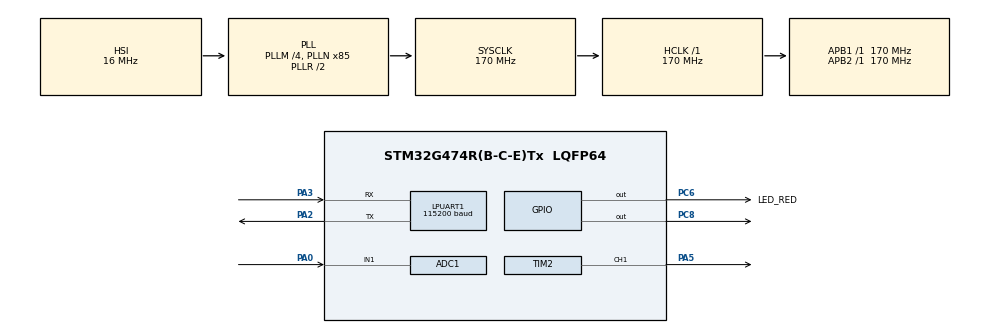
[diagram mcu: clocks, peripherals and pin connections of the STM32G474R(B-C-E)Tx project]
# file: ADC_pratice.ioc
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ADC1.Channel-0\#ChannelRegularConversion=ADC_CHANNEL_1
ADC1.DMAContinuousRequests=ENABLE
ADC1.ExternalTrigConv=ADC_EXTERNALTRIG_T3_TRGO
ADC1.NbrOfConversionFlag=1
ADC1.OffsetNumber-0\#ChannelRegularConversion=ADC_OFFSET_NONE
ADC1.Overrun=ADC_OVR_DATA_OVERWRITTEN
ADC1.Rank-0\#ChannelRegularConversion=1
ADC1.SamplingTime-0\#ChannelRegularConversion=ADC_SAMPLETIME_47CYCLES_5
ADC1.master=1
Dma.ADC1.0.Direction=DMA_PERIPH_TO_MEMORY
Dma.ADC1.0.EventEnable=DISABLE
Dma.ADC1.0.Instance=DMA1_Channel1
Dma.ADC1.0.MemDataAlignment=DMA_MDATAALIGN_HALFWORD
Dma.ADC1.0.MemInc=DMA_MINC_ENABLE
Dma.ADC1.0.Mode=DMA_CIRCULAR
Dma.ADC1.0.PeriphDataAlignment=DMA_PDATAALIGN_HALFWORD
Dma.ADC1.0.PeriphInc=DMA_PINC_DISABLE
Dma.ADC1.0.Polarity=HAL_DMAMUX_REQ_GEN_RISING
Dma.ADC1.0.Priority=DMA_PRIORITY_LOW
Dma.ADC1.0.RequestNumber=1
Dma.ADC1.0.SignalID=NONE
Dma.ADC1.0.SyncEnable=DISABLE
Dma.ADC1.0.SyncPolarity=HAL_DMAMUX_SYNC_NO_EVENT
Dma.ADC1.0.SyncRequestNumber=1
Dma.ADC1.0.SyncSignalID=NONE
Dma.Request0=ADC1
LPUART1.BaudRate=115200
Mcu.Family=STM32G4
Mcu.Name=STM32G474R(B-C-E)Tx
Mcu.Package=LQFP64
NVIC.DMA1_Channel1_IRQn=true\:0\:0\:false\:false\:true\:false\:true\:true
NVIC.PriorityGroup=NVIC_PRIORITYGROUP_4
PA0.Mode=IN1-Single-Ended
PA0.Signal=ADC1_IN1
PA13.GPIO_Label=T_SWDIO
PA13.Signal=SYS_JTMS-SWDIO
PA14.GPIO_Label=T_SWCLK
PA14.Signal=SYS_JTCK-SWCLK
PA2.Mode=Asynchronous
PA2.Signal=LPUART1_TX
PA3.Mode=Asynchronous
PA3.Signal=LPUART1_RX
PA5.Signal=S_TIM2_CH1
PB3.GPIO_Label=T_SWO
PB3.Signal=SYS_JTDO-SWO
PC14-OSC32_IN.GPIO_Label=RCC_OSC32_IN
PC14-OSC32_IN.Signal=RCC_OSC32_IN
PC15-OSC32_OUT.GPIO_Label=RCC_OSC32_OUT
PC15-OSC32_OUT.Signal=RCC_OSC32_OUT
PC6.GPIO_Label=LED_RED
PC6.Signal=GPIO_Output
PC8.Signal=GPIO_Output
PF0-OSC_IN.GPIO_Label=RCC_OSC_IN
PF0-OSC_IN.Signal=RCC_OSC_IN
PF1-OSC_OUT.GPIO_Label=RCC_OSC_OUT
PF1-OSC_OUT.Signal=RCC_OSC_OUT
ProjectManager.HeapSize=0x200
ProjectManager.StackSize=0x400
ProjectManager.TargetToolchain=STM32CubeIDE
RCC.ADC12Freq_Value=170000000
RCC.ADC345Freq_Value=170000000
RCC.AHBFreq_Value=170000000
RCC.APB1Freq_Value=170000000
RCC.APB1TimFreq_Value=170000000
RCC.APB2Freq_Value=170000000
RCC.APB2TimFreq_Value=170000000
RCC.CortexFreq_Value=170000000
RCC.EXTERNAL_CLOCK_VALUE=12288000
RCC.HCLKFreq_Value=170000000
RCC.HSE_VALUE=24000000
RCC.HSI48_VALUE=48000000
RCC.HSI_VALUE=16000000
RCC.LSE_VALUE=32768
RCC.PLLM=RCC_PLLM_DIV4
RCC.PLLN=85
RCC.RTCClockSelection=RCC_RTCCLKSOURCE_LSE
RCC.SYSCLKFreq_VALUE=170000000
RCC.SYSCLKSource=RCC_SYSCLKSOURCE_PLLCLK
RCC.USBFreq_Value=170000000
RCC.VCOOutputFreq_Value=340000000
SH.S_TIM2_CH1.0=TIM2_CH1,PWM Generation1 CH1
TIM2.Channel-PWM\ Generation1\ CH1=TIM_CHANNEL_1
TIM2.PeriodNoDither=999
TIM2.Prescaler=169
TIM3.PeriodNoDither=124
TIM3.Prescaler=169
TIM3.TIM_MasterOutputTrigger=TIM_TRGO_UPDATE
VP_SYS_VS_DBSignals.Mode=DisableDeadBatterySignals
VP_TIM2_VS_ClockSourceINT.Mode=Internal
VP_TIM3_VS_ClockSourceINT.Mode=Internal
board=NUCLEO-G474RE

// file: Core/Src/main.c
/* USER CODE BEGIN Header */
/**
  ******************************************************************************
  * @file           : main.c
  * @brief          : Main program body
  ******************************************************************************
  * @attention
  *
  * Copyright (c) 2026 STMicroelectronics.
  * All rights reserved.
  *
  * This software is licensed under terms that can be found in the LICENSE file
  * in the root directory of this software component.
  * If no LICENSE file comes with this software, it is provided AS-IS.
  *
  ******************************************************************************
  */
/* USER CODE END Header */
#include "main.h"
/* USER CODE BEGIN Includes */
#include <stdio.h>

/* USER CODE END Includes */

/* USER CODE BEGIN PD */
#define ADC_BUF_LEN   256                 // DMA 緩衝區總長度
#define HALF_LEN      (ADC_BUF_LEN / 2)   // 一半 = 128 筆（Ping 或 Pong）
/* USER CODE END PD */

ADC_HandleTypeDef hadc1;
DMA_HandleTypeDef hdma_adc1;

UART_HandleTypeDef hlpuart1;

TIM_HandleTypeDef htim2;
TIM_HandleTypeDef htim3;

/* USER CODE BEGIN PV */
uint16_t adc_buf[ADC_BUF_LEN];   // DMA 自動把 ADC 結果搬到這裡
                                 // 前半 [0~127] = Ping，後半 [128~255] = Pong
uint32_t duty_now = 0;       // 目前 LD2 的亮度（0～100），用來做慢慢變暗

/* 旗子：告訴 main 該讀哪一半
 * 0 = 沒有新資料，1 = 前半滿了，2 = 後半滿了
 * volatile：這個變數會在中斷裡被改，要告訴編譯器每次都重新讀 */
volatile uint8_t process_flag = 0;

uint32_t adc_val = 0;        // 最新一筆讀值（給 printf 用）

uint32_t noise = 0;          // 開機 1 秒量到的噪音（max − min）
uint32_t th = 0;             // 門檻 TH = NOISE × 3 + 30
uint8_t  calibrated = 0;     // 0 = 還在量噪音，1 = 量完了，開始偵測拍手
uint32_t n_min = 4095;       // 量噪音期間的最小值
uint32_t n_max = 0;          // 量噪音期間的最大值
uint32_t cal_start = 0;      // 開始量噪音的時間

uint32_t last_toggle = 0;    // 上次切換紅燈的時間（防止一次拍手切兩次）
uint32_t last_print = 0;     // 上次 printf 的時間
/* USER CODE END PV */

void SystemClock_Config(void);
static void MX_GPIO_Init(void);
static void MX_DMA_Init(void);
static void MX_ADC1_Init(void);
static void MX_LPUART1_UART_Init(void);
static void MX_TIM3_Init(void);
static void MX_TIM2_Init(void);

/* USER CODE BEGIN 0 */
/* printf 重新導向：每個字元都從 LPUART1 送出去 */
int __io_putchar(int ch)
{
  HAL_UART_Transmit(&hlpuart1, (uint8_t *)&ch, 1, HAL_MAX_DELAY);
  return ch;
}
/*
 * 設定 PWM 亮度（輸入 0～100，代表 0%～100%）
 * Compare 值 = 一個週期的總格數 × 百分比
 * 例如 ARR = 999（一週期 1000 格），33% → 330
 */
void Set_Duty(uint32_t percent)
{
  uint32_t period = __HAL_TIM_GET_AUTORELOAD(&htim2) + 1;   // 讀出 ARR + 1 = 1000
  uint32_t pulse  = period * percent / 100;                 // 算出要亮幾格
  __HAL_TIM_SET_COMPARE(&htim2, TIM_CHANNEL_1, pulse);      // 設定進去，馬上生效、不會卡住
}
/* USER CODE END 0 */

int main(void)
{

  /* MCU Configuration--------------------------------------------------------*/

  /* Reset of all peripherals, Initializes the Flash interface and the Systick. */
  HAL_Init();

  /* Configure the system clock */
  SystemClock_Config();

  /* Initialize all configured peripherals */
  MX_GPIO_Init();
  MX_DMA_Init();
  MX_ADC1_Init();
  MX_LPUART1_UART_Init();
  MX_TIM3_Init();
  MX_TIM2_Init();
  /* USER CODE BEGIN 2 */
  /* ADC 校正（要在啟動 ADC 之前做） */
  HAL_ADCEx_Calibration_Start(&hadc1, ADC_SINGLE_ENDED);

  /* 啟動 ADC + DMA：ADC 每轉換完一筆，DMA 就自動搬進 adc_buf
   * 寫到一半 → 呼叫 HalfCplt 回呼；寫滿 → 呼叫 Cplt 回呼，然後從頭再寫 */
  HAL_ADC_Start_DMA(&hadc1, (uint32_t *)adc_buf, ADC_BUF_LEN);

  /* 啟動 TIM3：開始每 125 µs 觸發 ADC 一次
   * 一定要放在 ADC 啟動之後，不然第一批觸發會沒人接 */
  HAL_TIM_Base_Start(&htim3);
  /* 啟動 TIM2 的 PWM 輸出（PA5 / LD2） */
  HAL_TIM_PWM_Start(&htim2, TIM_CHANNEL_1);

  /* 測試用：開機時 LD2 由暗到亮再滅，確認 PWM 正常（測完可刪） */
  for (int d = 0; d <= 100; d += 5)
  {
    Set_Duty(d);
    HAL_Delay(50);
  }
  Set_Duty(0);

  cal_start = HAL_GetTick();   // 開始量噪音（這 1 秒請保持安靜）
  /* USER CODE END 2 */

  /* Infinite loop */
  while (1)
  {

    /* USER CODE BEGIN 3 */
	  /* ===== 1. 有一半填滿了，就去處理那一半 ===== */
	 	    if (process_flag != 0)
	 	    {
	 	      uint8_t which = process_flag;   // 先記下是哪一半
	 	      process_flag = 0;               // 馬上把旗子放下，等下一次通知

	 	      /* 決定要讀的起點：1 → 前半（Ping），2 → 後半（Pong） */
	 	      uint16_t *p = (which == 1) ? &adc_buf[0] : &adc_buf[HALF_LEN];

	 	      /* 找出這 128 筆裡的最大、最小值 */
	 	      uint32_t b_min = 4095, b_max = 0;
	 	      for (int i = 0; i < HALF_LEN; i++)
	 	      {
	 	        if (p[i] < b_min) b_min = p[i];
	 	        if (p[i] > b_max) b_max = p[i];
	 	      }
	 	      uint32_t loud = b_max - b_min;  // 這 16 ms 的音量
	 	      adc_val = p[HALF_LEN - 1];      // 記下最新一筆，給 printf 用

	 	      if (!calibrated)
	 	      {
	 	        /* --- 開機前 1 秒：量噪音 --- */
	 	        if (b_min < n_min) n_min = b_min;
	 	        if (b_max > n_max) n_max = b_max;

	 	        if (HAL_GetTick() - cal_start >= 1000)   // 滿 1 秒了
	 	        {
	 	          noise = n_max - n_min;
	 	          th = noise * 3 + 30;                   // 門檻公式（第 12 頁）
	 	          calibrated = 1;                        // 開始偵測拍手
	 	        }
	 	      }
		      else
		      {
		        /* ===== 挑戰題：依音量決定「目標亮度」 ===== */
		        uint32_t target;
		        if      (loud >= th * 3) target = 100;   // 大聲
		        else if (loud >= th * 2) target = 66;    // 中等
		        else if (loud >= th)     target = 33;    // 小聲
		        else                     target = 0;     // 安靜

		        /* 瞬間變亮、慢慢變暗
		         * 比現在亮 → 直接跳上去
		         * 比現在暗 → 每 16 ms 只降 3%，約 0.5 秒從全亮暗到滅 */
		        if (target > duty_now)
		        {
		          duty_now = target;
		        }
		        else if (duty_now > target)
		        {
		          duty_now = (duty_now >= target + 3) ? duty_now - 3 : target;
		        }
		        Set_Duty(duty_now);

		        /* ===== 保留：拍手切換紅燈（PC6） ===== */
		        if (loud > th && (HAL_GetTick() - last_toggle) > 300)
		        {
		          HAL_GPIO_TogglePin(LED_RED_GPIO_Port, LED_RED_Pin);
		          last_toggle = HAL_GetTick();
		        }
		      }
	 	    }

	 	    /* ===== 2. 每 20 ms 輸出一次（給示波器網頁看） ===== */
	 	    if (HAL_GetTick() - last_print >= 20)
	 	    {
	 	      printf("ADC=%lu\r\n", (unsigned long)adc_val);
	 	      last_print = HAL_GetTick();
	 	    }
  }
  /* USER CODE END 3 */
}

void SystemClock_Config(void)
{
  RCC_OscInitTypeDef RCC_OscInitStruct = {0};
  RCC_ClkInitTypeDef RCC_ClkInitStruct = {0};

  /** Configure the main internal regulator output voltage
  */
  HAL_PWREx_ControlVoltageScaling(PWR_REGULATOR_VOLTAGE_SCALE1_BOOST);

  /** Initializes the RCC Oscillators according to the specified parameters
  * in the RCC_OscInitTypeDef structure.
  */
  RCC_OscInitStruct.OscillatorType = RCC_OSCILLATORTYPE_HSI;
  RCC_OscInitStruct.HSIState = RCC_HSI_ON;
  RCC_OscInitStruct.HSICalibrationValue = RCC_HSICALIBRATION_DEFAULT;
  RCC_OscInitStruct.PLL.PLLState = RCC_PLL_ON;
  RCC_OscInitStruct.PLL.PLLSource = RCC_PLLSOURCE_HSI;
  RCC_OscInitStruct.PLL.PLLM = RCC_PLLM_DIV4;
  RCC_OscInitStruct.PLL.PLLN = 85;
  RCC_OscInitStruct.PLL.PLLP = RCC_PLLP_DIV2;
  RCC_OscInitStruct.PLL.PLLQ = RCC_PLLQ_DIV2;
  RCC_OscInitStruct.PLL.PLLR = RCC_PLLR_DIV2;
  if (HAL_RCC_OscConfig(&RCC_OscInitStruct) != HAL_OK)
  {
    Error_Handler();
  }

  /** Initializes the CPU, AHB and APB buses clocks
  */
  RCC_ClkInitStruct.ClockType = RCC_CLOCKTYPE_HCLK|RCC_CLOCKTYPE_SYSCLK
                              |RCC_CLOCKTYPE_PCLK1|RCC_CLOCKTYPE_PCLK2;
  RCC_ClkInitStruct.SYSCLKSource = RCC_SYSCLKSOURCE_PLLCLK;
  RCC_ClkInitStruct.AHBCLKDivider = RCC_SYSCLK_DIV1;
  RCC_ClkInitStruct.APB1CLKDivider = RCC_HCLK_DIV1;
  RCC_ClkInitStruct.APB2CLKDivider = RCC_HCLK_DIV1;

  if (HAL_RCC_ClockConfig(&RCC_ClkInitStruct, FLASH_LATENCY_4) != HAL_OK)
  {
    Error_Handler();
  }
}

static void MX_ADC1_Init(void)
{

  ADC_MultiModeTypeDef multimode = {0};
  ADC_ChannelConfTypeDef sConfig = {0};

  /** Common config
  */
  hadc1.Instance = ADC1;
  hadc1.Init.ClockPrescaler = ADC_CLOCK_SYNC_PCLK_DIV4;
  hadc1.Init.Resolution = ADC_RESOLUTION_12B;
  hadc1.Init.DataAlign = ADC_DATAALIGN_RIGHT;
  hadc1.Init.GainCompensation = 0;
  hadc1.Init.ScanConvMode = ADC_SCAN_DISABLE;
  hadc1.Init.EOCSelection = ADC_EOC_SINGLE_CONV;
  hadc1.Init.LowPowerAutoWait = DISABLE;
  hadc1.Init.ContinuousConvMode = DISABLE;
  hadc1.Init.NbrOfConversion = 1;
  hadc1.Init.DiscontinuousConvMode = DISABLE;
  hadc1.Init.ExternalTrigConv = ADC_EXTERNALTRIG_T3_TRGO;
  hadc1.Init.ExternalTrigConvEdge = ADC_EXTERNALTRIGCONVEDGE_RISING;
  hadc1.Init.DMAContinuousRequests = ENABLE;
  hadc1.Init.Overrun = ADC_OVR_DATA_OVERWRITTEN;
  hadc1.Init.OversamplingMode = DISABLE;
  if (HAL_ADC_Init(&hadc1) != HAL_OK)
  {
    Error_Handler();
  }

  /** Configure the ADC multi-mode
  */
  multimode.Mode = ADC_MODE_INDEPENDENT;
  if (HAL_ADCEx_MultiModeConfigChannel(&hadc1, &multimode) != HAL_OK)
  {
    Error_Handler();
  }

  /** Configure Regular Channel
  */
  sConfig.Channel = ADC_CHANNEL_1;
  sConfig.Rank = ADC_REGULAR_RANK_1;
  sConfig.SamplingTime = ADC_SAMPLETIME_47CYCLES_5;
  sConfig.SingleDiff = ADC_SINGLE_ENDED;
  sConfig.OffsetNumber = ADC_OFFSET_NONE;
  sConfig.Offset = 0;
  if (HAL_ADC_ConfigChannel(&hadc1, &sConfig) != HAL_OK)
  {
    Error_Handler();
  }

}

static void MX_LPUART1_UART_Init(void)
{

  hlpuart1.Instance = LPUART1;
  hlpuart1.Init.BaudRate = 115200;
  hlpuart1.Init.WordLength = UART_WORDLENGTH_8B;
  hlpuart1.Init.StopBits = UART_STOPBITS_1;
  hlpuart1.Init.Parity = UART_PARITY_NONE;
  hlpuart1.Init.Mode = UART_MODE_TX_RX;
  hlpuart1.Init.HwFlowCtl = UART_HWCONTROL_NONE;
  hlpuart1.Init.OneBitSampling = UART_ONE_BIT_SAMPLE_DISABLE;
  hlpuart1.Init.ClockPrescaler = UART_PRESCALER_DIV1;
  hlpuart1.AdvancedInit.AdvFeatureInit = UART_ADVFEATURE_NO_INIT;
  if (HAL_UART_Init(&hlpuart1) != HAL_OK)
  {
    Error_Handler();
  }
  if (HAL_UARTEx_SetTxFifoThreshold(&hlpuart1, UART_TXFIFO_THRESHOLD_1_8) != HAL_OK)
  {
    Error_Handler();
  }
  if (HAL_UARTEx_SetRxFifoThreshold(&hlpuart1, UART_RXFIFO_THRESHOLD_1_8) != HAL_OK)
  {
    Error_Handler();
  }
  if (HAL_UARTEx_DisableFifoMode(&hlpuart1) != HAL_OK)
  {
    Error_Handler();
  }

}

static void MX_TIM2_Init(void)
{

  TIM_ClockConfigTypeDef sClockSourceConfig = {0};
  TIM_MasterConfigTypeDef sMasterConfig = {0};
  TIM_OC_InitTypeDef sConfigOC = {0};

  htim2.Instance = TIM2;
  htim2.Init.Prescaler = 169;
  htim2.Init.CounterMode = TIM_COUNTERMODE_UP;
  htim2.Init.Period = 999;
  htim2.Init.ClockDivision = TIM_CLOCKDIVISION_DIV1;
  htim2.Init.AutoReloadPreload = TIM_AUTORELOAD_PRELOAD_DISABLE;
  if (HAL_TIM_Base_Init(&htim2) != HAL_OK)
  {
    Error_Handler();
  }
  sClockSourceConfig.ClockSource = TIM_CLOCKSOURCE_INTERNAL;
  if (HAL_TIM_ConfigClockSource(&htim2, &sClockSourceConfig) != HAL_OK)
  {
    Error_Handler();
  }
  if (HAL_TIM_PWM_Init(&htim2) != HAL_OK)
  {
    Error_Handler();
  }
  sMasterConfig.MasterOutputTrigger = TIM_TRGO_RESET;
  sMasterConfig.MasterSlaveMode = TIM_MASTERSLAVEMODE_DISABLE;
  if (HAL_TIMEx_MasterConfigSynchronization(&htim2, &sMasterConfig) != HAL_OK)
  {
    Error_Handler();
  }
  sConfigOC.OCMode = TIM_OCMODE_PWM1;
  sConfigOC.Pulse = 0;
  sConfigOC.OCPolarity = TIM_OCPOLARITY_HIGH;
  sConfigOC.OCFastMode = TIM_OCFAST_DISABLE;
  if (HAL_TIM_PWM_ConfigChannel(&htim2, &sConfigOC, TIM_CHANNEL_1) != HAL_OK)
  {
    Error_Handler();
  }
  HAL_TIM_MspPostInit(&htim2);

}

static void MX_TIM3_Init(void)
{

  TIM_ClockConfigTypeDef sClockSourceConfig = {0};
  TIM_MasterConfigTypeDef sMasterConfig = {0};

  htim3.Instance = TIM3;
  htim3.Init.Prescaler = 169;
  htim3.Init.CounterMode = TIM_COUNTERMODE_UP;
  htim3.Init.Period = 124;
  htim3.Init.ClockDivision = TIM_CLOCKDIVISION_DIV1;
  htim3.Init.AutoReloadPreload = TIM_AUTORELOAD_PRELOAD_DISABLE;
  if (HAL_TIM_Base_Init(&htim3) != HAL_OK)
  {
    Error_Handler();
  }
  sClockSourceConfig.ClockSource = TIM_CLOCKSOURCE_INTERNAL;
  if (HAL_TIM_ConfigClockSource(&htim3, &sClockSourceConfig) != HAL_OK)
  {
    Error_Handler();
  }
  sMasterConfig.MasterOutputTrigger = TIM_TRGO_UPDATE;
  sMasterConfig.MasterSlaveMode = TIM_MASTERSLAVEMODE_DISABLE;
  if (HAL_TIMEx_MasterConfigSynchronization(&htim3, &sMasterConfig) != HAL_OK)
  {
    Error_Handler();
  }

}

static void MX_DMA_Init(void)
{

  /* DMA controller clock enable */
  __HAL_RCC_DMAMUX1_CLK_ENABLE();
  __HAL_RCC_DMA1_CLK_ENABLE();

  /* DMA interrupt init */
  /* DMA1_Channel1_IRQn interrupt configuration */
  HAL_NVIC_SetPriority(DMA1_Channel1_IRQn, 0, 0);
  HAL_NVIC_EnableIRQ(DMA1_Channel1_IRQn);

}

static void MX_GPIO_Init(void)
{
  GPIO_InitTypeDef GPIO_InitStruct = {0};

  /* GPIO Ports Clock Enable */
  __HAL_RCC_GPIOC_CLK_ENABLE();
  __HAL_RCC_GPIOF_CLK_ENABLE();
  __HAL_RCC_GPIOA_CLK_ENABLE();
  __HAL_RCC_GPIOB_CLK_ENABLE();

  /*Configure GPIO pin Output Level */
  HAL_GPIO_WritePin(GPIOC, LED_RED_Pin|GPIO_PIN_8, GPIO_PIN_RESET);

  /*Configure GPIO pins : LED_RED_Pin PC8 */
  GPIO_InitStruct.Pin = LED_RED_Pin|GPIO_PIN_8;
  GPIO_InitStruct.Mode = GPIO_MODE_OUTPUT_PP;
  GPIO_InitStruct.Pull = GPIO_NOPULL;
  GPIO_InitStruct.Speed = GPIO_SPEED_FREQ_LOW;
  HAL_GPIO_Init(GPIOC, &GPIO_InitStruct);

}

/* USER CODE BEGIN 4 */
/* DMA 寫完前半（0~127）時，HAL 會自動呼叫這個函式
 * 中斷裡只舉旗子，不做計算，越短越好 */
void HAL_ADC_ConvHalfCpltCallback(ADC_HandleTypeDef *hadc)
{
  if (hadc->Instance == ADC1)
  {
    process_flag = 1;   // 通知 main：前半可以讀了（DMA 正在寫後半）
  }
}

/* DMA 寫完後半（128~255）時呼叫，之後 DMA 會繞回去從頭寫 */
void HAL_ADC_ConvCpltCallback(ADC_HandleTypeDef *hadc)
{
  if (hadc->Instance == ADC1)
  {
    process_flag = 2;   // 通知 main：後半可以讀了（DMA 正在寫前半）
  }
}
/* USER CODE END 4 */

void Error_Handler(void)
{
  __disable_irq();
  while (1)
  {
  }
}
